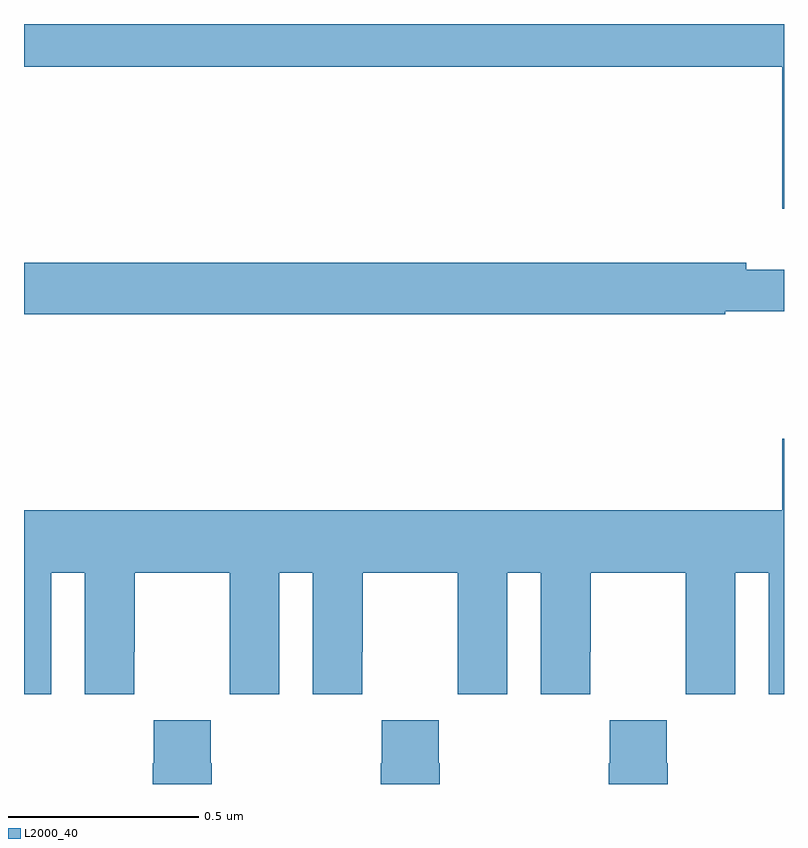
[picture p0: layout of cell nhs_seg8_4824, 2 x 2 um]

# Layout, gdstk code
import gdstk
lib = gdstk.Library(unit=1e-6, precision=1e-09)
def P(c, l, *ps):  # polygons
    for p in ps: c.add(gdstk.Polygon(p, *l))
L2000_40 = (2000, 40)

nhs_seg8_4824 = lib.new_cell('nhs_seg8_4824')
P(nhs_seg8_4824, L2000_40, [(175,1161.788),(176.996,1161.788),(176.996,1161.414),(177,1161.414),(177,1161.9),(175,1161.9)],
  [(176.845,1161.144),(177,1161.144),(177,1161.253),(176.9,1161.253),(176.9,1161.272),(175,1161.272),(175,1161.136),(176.845,1161.136)],
  [(175,1160.136),(175.072,1160.136),(175.072,1160.456),(175.16,1160.456),(175.16,1160.136),(175.29,1160.136),(175.29,1160.248),(175.291,1160.248),(175.291,1160.456),(175.541,1160.456),(175.541,1160.248),(175.542,1160.248),(175.542,1160.136),(175.672,1160.136),(175.672,1160.456),(175.76,1160.456),(175.76,1160.136),(175.89,1160.136),(175.89,1160.248),(175.891,1160.248),(175.891,1160.456),(176.141,1160.456),(176.141,1160.248),(176.142,1160.248),(176.142,1160.136),(176.272,1160.136),(176.272,1160.456),(176.36,1160.456),(176.36,1160.136),(176.49,1160.136),(176.49,1160.248),(176.491,1160.248),(176.491,1160.456),(176.741,1160.456),(176.741,1160.248),(176.742,1160.248),(176.742,1160.136),(176.872,1160.136),(176.872,1160.456),(176.96,1160.456),(176.96,1160.136),(177,1160.136),(177,1160.809),(176.996,1160.809),(176.996,1160.62),(175,1160.62)],
  [(176.694,1159.955),(176.691,1159.955),(176.691,1160.068),(176.541,1160.068),(176.541,1159.955),(176.539,1159.955),(176.539,1159.9),(176.694,1159.9)],
  [(176.094,1159.955),(176.091,1159.955),(176.091,1160.068),(175.941,1160.068),(175.941,1159.955),(175.939,1159.955),(175.939,1159.9),(176.094,1159.9)],
  [(175.494,1159.955),(175.491,1159.955),(175.491,1160.068),(175.341,1160.068),(175.341,1159.955),(175.339,1159.955),(175.339,1159.9),(175.494,1159.9)])

lib.write_gds('nhs_seg8_4824.gds')
